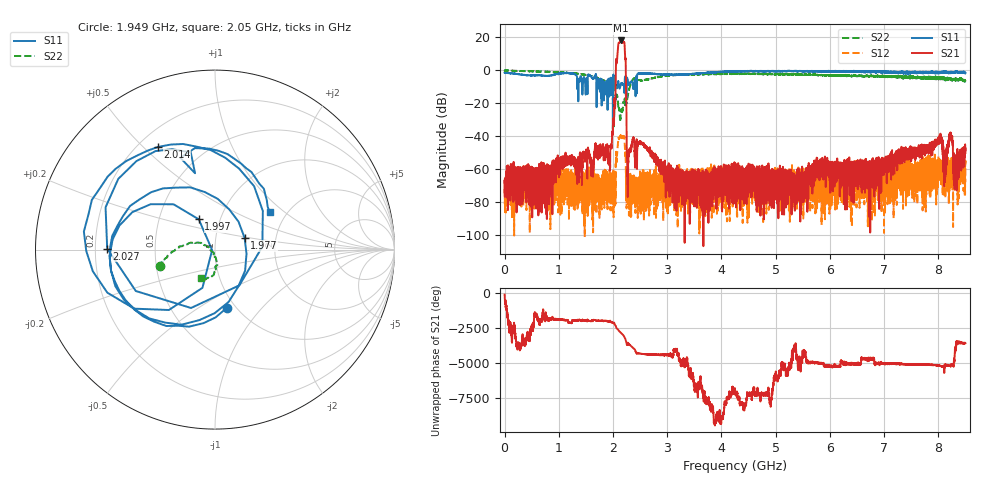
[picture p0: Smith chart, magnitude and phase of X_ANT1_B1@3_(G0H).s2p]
#  HZ  S  RI  R  50.00
! Rohde & Schwarz Vector Network Analyzer
! Rohde-Schwarz,ZNBT8-20Port,1318700624101681,3.50
! Created: UTC 7/15/2025, 2:08:19 PM
! freq[Hz]  re:S1010  im:S1010  re:S0310  im:S0310  re:S1003  im:S1003  re:S33  im:S33
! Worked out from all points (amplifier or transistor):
!   8500 points, 1 MHz to 8.5 GHz, reference 50 ohm
!   highest |S21| = 18.0 dB at 2.144 GHz (marker M1)
!   |S21| within 3 dB of that: 2.095 GHz to 2.215 GHz (119.5 MHz wide, 5.55 % of centre)
!   unconditionally stable (mu >= 1): start of sweep to end of sweep
!   at 1.417 GHz: K = 255735.72, MAG = -52.5 dB, |S12| = -67.0 dB
!   at 4.251 GHz: K = 45950.86, MAG = -50.7 dB, |S12| = -60.9 dB
!   at 8.5 GHz: K = 101528.03, MAG = -44.2 dB, |S12| = -67.8 dB
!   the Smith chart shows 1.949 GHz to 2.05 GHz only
!   S11 on the Smith chart (normalised r, x): 1.949 GHz: 0.91, -0.66; 1.977 GHz: 1.38, +0.19; 1.997 GHz: 0.79, +0.28; 2.014 GHz: 0.28, +0.55; 2.027 GHz: 0.25, +0.00; 2.05 GHz: 1.64, +0.79
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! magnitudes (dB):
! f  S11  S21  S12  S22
! 1 MHz  -1.5  -68.1  -67.5  -0.2
! 1.418 GHz  -5.1  -58.0  -68.1  -2.5
! 1.949 GHz  -9.6  -51.5  -75.0  -9.9
! 1.977 GHz  -15.0  -46.6  -76.0  -12.7
! 1.997 GHz  -14.4  -37.3  -65.4  -17.7
! 2.014 GHz  -3.7  -32.8  -67.2  -32.0
! 2.027 GHz  -4.4  -17.2  -66.9  -21.1
! 2.05 GHz  -8.7  -6.4  -58.4  -15.1
! 2.144 GHz  -8.7  18.0  -39.3  -26.6
! 2.205 GHz  -11.0  16.9  -40.8  -19.0
! 2.293 GHz  -8.4  -49.3  -66.0  -12.3
! 2.512 GHz  -1.9  -44.1  -74.0  -6.2
! 2.834 GHz  -2.4  -56.4  -64.7  -4.2
! 3.303 GHz  -2.6  -63.1  -67.7  -2.8
! 4.251 GHz  -0.7  -63.2  -60.9  -2.2
! 5.667 GHz  -0.4  -68.9  -67.4  -2.7
! 7.084 GHz  -1.0  -54.0  -74.5  -3.5
! 8.024 GHz  -1.3  -40.7  -60.0  -5.3
! 8.123 GHz  -1.4  -55.4  -51.5  -5.1
! 8.23 GHz  -1.7  -39.3  -57.9  -5.9
! 8.317 GHz  -1.0  -60.4  -61.3  -6.3
! 8.5 GHz  -1.8  -50.1  -67.8  -6.1
